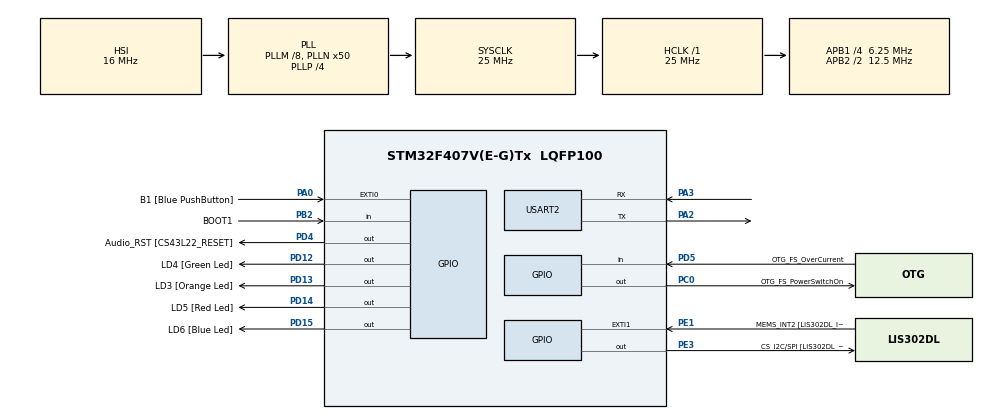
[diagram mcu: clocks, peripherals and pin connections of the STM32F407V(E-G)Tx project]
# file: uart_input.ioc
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Mcu.Family=STM32F4
Mcu.Name=STM32F407V(E-G)Tx
Mcu.Package=LQFP100
NVIC.EXTI0_IRQn=true\:0\:0\:false\:false\:true
NVIC.PriorityGroup=NVIC_PRIORITYGROUP_0
PA0-WKUP.GPIO_Label=B1 [Blue PushButton]
PA0-WKUP.Signal=GPXTI0
PA10.GPIO_Label=OTG_FS_ID
PA10.GPIO_Mode=GPIO_MODE_AF_PP
PA10.GPIO_PuPd=GPIO_NOPULL
PA10.GPIO_Speed=GPIO_SPEED_FREQ_LOW
PA10.Signal=USB_OTG_FS_ID
PA11.GPIO_Label=OTG_FS_DM
PA11.GPIO_Mode=GPIO_MODE_AF_PP
PA11.GPIO_PuPd=GPIO_NOPULL
PA11.GPIO_Speed=GPIO_SPEED_FREQ_LOW
PA11.Signal=USB_OTG_FS_DM
PA12.GPIO_Label=OTG_FS_DP
PA12.GPIO_Mode=GPIO_MODE_AF_PP
PA12.GPIO_PuPd=GPIO_NOPULL
PA12.GPIO_Speed=GPIO_SPEED_FREQ_LOW
PA12.Signal=USB_OTG_FS_DP
PA13.GPIO_Label=SWDIO
PA13.Signal=SYS_JTMS-SWDIO
PA14.GPIO_Label=SWCLK
PA14.Signal=SYS_JTCK-SWCLK
PA2.Mode=Asynchronous
PA2.Signal=USART2_TX
PA3.Mode=Asynchronous
PA3.Signal=USART2_RX
PA4.GPIO_Label=I2S3_WS [CS43L22_LRCK]
PA4.GPIO_Mode=GPIO_MODE_AF_PP
PA4.GPIO_PuPd=GPIO_NOPULL
PA4.GPIO_Speed=GPIO_SPEED_FREQ_LOW
PA4.Signal=I2S3_WS
PA5.GPIO_Label=SPI1_SCK [LIS302DL_SCL/SPC]
PA5.GPIO_Mode=GPIO_MODE_AF_PP
PA5.GPIO_PuPd=GPIO_NOPULL
PA5.GPIO_Speed=GPIO_SPEED_FREQ_LOW
PA5.Signal=SPI1_SCK
PA6.GPIO_Label=SPI1_MISO [LIS302DL_SDO]
PA6.GPIO_Mode=GPIO_MODE_AF_PP
PA6.GPIO_PuPd=GPIO_NOPULL
PA6.GPIO_Speed=GPIO_SPEED_FREQ_LOW
PA6.Signal=SPI1_MISO
PA7.GPIO_Label=SPI1_MOSI [LIS302DL_SDA/SDI/SDO]
PA7.GPIO_Mode=GPIO_MODE_AF_PP
PA7.GPIO_PuPd=GPIO_NOPULL
PA7.GPIO_Speed=GPIO_SPEED_FREQ_LOW
PA7.Signal=SPI1_MOSI
PA9.GPIO_Label=VBUS_FS
PA9.GPIO_Mode=GPIO_MODE_INPUT
PA9.GPIO_PuPd=GPIO_NOPULL
PA9.Signal=USB_OTG_FS_VBUS
PB10.GPIO_Label=CLK_IN [MP45DT02_CLK]
PB10.GPIO_Mode=GPIO_MODE_AF_PP
PB10.GPIO_PuPd=GPIO_NOPULL
PB10.GPIO_Speed=GPIO_SPEED_FREQ_LOW
PB10.Signal=I2S2_CK
PB2.GPIO_Label=BOOT1
PB2.GPIO_Mode=GPIO_MODE_INPUT
PB2.GPIO_PuPd=GPIO_NOPULL
PB2.Signal=GPIO_Input
PB3.GPIO_Label=SWO
PB3.Signal=SYS_JTDO-SWO
PB6.GPIO_Label=Audio_SCL [CS43L22_SCL]
PB6.GPIO_Mode=GPIO_MODE_AF_OD
PB6.GPIO_PuPd=GPIO_NOPULL
PB6.GPIO_Speed=GPIO_SPEED_FREQ_LOW
PB6.Signal=I2C1_SCL
PB9.GPIO_Label=Audio_SDA [CS43L22_SDA]
PB9.GPIO_Mode=GPIO_MODE_AF_OD
PB9.GPIO_PuPd=GPIO_NOPULL
PB9.GPIO_Speed=GPIO_SPEED_FREQ_LOW
PB9.Signal=I2C1_SDA
PC0.GPIO_Label=OTG_FS_PowerSwitchOn
PC0.GPIO_PuPd=GPIO_NOPULL
PC0.GPIO_Speed=GPIO_SPEED_FREQ_LOW
PC0.PinState=GPIO_PIN_SET
PC0.Signal=GPIO_Output
PC10.GPIO_Label=I2S3_SCK [CS43L22_SCLK]
PC10.GPIO_Mode=GPIO_MODE_AF_PP
PC10.GPIO_PuPd=GPIO_NOPULL
PC10.GPIO_Speed=GPIO_SPEED_FREQ_LOW
PC10.Signal=I2S3_CK
PC12.GPIO_Label=I2S3_SD [CS43L22_SDIN]
PC12.GPIO_Mode=GPIO_MODE_AF_PP
PC12.GPIO_PuPd=GPIO_NOPULL
PC12.GPIO_Speed=GPIO_SPEED_FREQ_LOW
PC12.Signal=I2S3_SD
PC14-OSC32_IN.GPIO_Label=PC14-OSC32_IN
PC14-OSC32_IN.Signal=RCC_OSC32_IN
PC15-OSC32_OUT.GPIO_Label=PC15-OSC32_OUT
PC15-OSC32_OUT.Signal=RCC_OSC32_OUT
PC3.GPIO_Label=PDM_OUT [MP45DT02_DOUT]
PC3.GPIO_Mode=GPIO_MODE_AF_PP
PC3.GPIO_PuPd=GPIO_NOPULL
PC3.GPIO_Speed=GPIO_SPEED_FREQ_LOW
PC3.Signal=I2S2_SD
PC7.GPIO_Label=I2S3_MCK [CS43L22_MCLK]
PC7.GPIO_Mode=GPIO_MODE_AF_PP
PC7.GPIO_PuPd=GPIO_NOPULL
PC7.GPIO_Speed=GPIO_SPEED_FREQ_LOW
PC7.Signal=I2S3_MCK
PD12.GPIO_Label=LD4 [Green Led]
PD12.GPIO_PuPd=GPIO_NOPULL
PD12.GPIO_Speed=GPIO_SPEED_FREQ_LOW
PD12.Signal=GPIO_Output
PD13.GPIO_Label=LD3 [Orange Led]
PD13.GPIO_PuPd=GPIO_NOPULL
PD13.GPIO_Speed=GPIO_SPEED_FREQ_LOW
PD13.Signal=GPIO_Output
PD14.GPIO_Label=LD5 [Red Led]
PD14.GPIO_PuPd=GPIO_NOPULL
PD14.GPIO_Speed=GPIO_SPEED_FREQ_LOW
PD14.Signal=GPIO_Output
PD15.GPIO_Label=LD6 [Blue Led]
PD15.GPIO_PuPd=GPIO_NOPULL
PD15.GPIO_Speed=GPIO_SPEED_FREQ_LOW
PD15.Signal=GPIO_Output
PD4.GPIO_Label=Audio_RST [CS43L22_RESET]
PD4.GPIO_PuPd=GPIO_NOPULL
PD4.GPIO_Speed=GPIO_SPEED_FREQ_LOW
PD4.Signal=GPIO_Output
PD5.GPIO_Label=OTG_FS_OverCurrent
PD5.GPIO_Mode=GPIO_MODE_INPUT
PD5.GPIO_PuPd=GPIO_NOPULL
PD5.Signal=GPIO_Input
PE1.GPIO_Label=MEMS_INT2 [LIS302DL_INT2]
PE1.GPIO_ModeDefaultEXTI=GPIO_MODE_EVT_RISING
PE1.GPIO_PuPd=GPIO_NOPULL
PE1.Signal=GPXTI1
PE3.GPIO_Label=CS_I2C/SPI [LIS302DL_CS_I2C/SPI]
PE3.GPIO_PuPd=GPIO_NOPULL
PE3.GPIO_Speed=GPIO_SPEED_FREQ_LOW
PE3.Signal=GPIO_Output
PH0-OSC_IN.GPIO_Label=PH0-OSC_IN
PH0-OSC_IN.Signal=RCC_OSC_IN
PH1-OSC_OUT.GPIO_Label=PH1-OSC_OUT
PH1-OSC_OUT.Signal=RCC_OSC_OUT
ProjectManager.HeapSize=0x200
ProjectManager.StackSize=0x400
ProjectManager.TargetToolchain=SW4STM32
RCC.48MHZClocksFreq_Value=14285714.285714285
RCC.AHBFreq_Value=25000000
RCC.APB1CLKDivider=RCC_HCLK_DIV4
RCC.APB1Freq_Value=6250000
RCC.APB1TimFreq_Value=12500000
RCC.APB2CLKDivider=RCC_HCLK_DIV2
RCC.APB2Freq_Value=12500000
RCC.APB2TimFreq_Value=25000000
RCC.CortexFreq_Value=25000000
RCC.HCLKFreq_Value=25000000
RCC.HSE_VALUE=8000000
RCC.HSI_VALUE=16000000
RCC.LSE_VALUE=32768
RCC.PLLM=8
RCC.PLLN=50
RCC.PLLP=RCC_PLLP_DIV4
RCC.PLLQ=7
RCC.SYSCLKFreq_VALUE=25000000
RCC.SYSCLKSource=RCC_SYSCLKSOURCE_PLLCLK
RCC.VCOOutputFreq_Value=100000000
board=STM32F407G-DISC1

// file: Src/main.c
/**
  ******************************************************************************
  * File Name          : main.c
  * Description        : Main program body
  ******************************************************************************
  *
  * COPYRIGHT(c) 2017 STMicroelectronics
  *
  * Redistribution and use in source and binary forms, with or without modification,
  * are permitted provided that the following conditions are met:
  *   1. Redistributions of source code must retain the above copyright notice,
  *      this list of conditions and the following disclaimer.
  *   2. Redistributions in binary form must reproduce the above copyright notice,
  *      this list of conditions and the following disclaimer in the documentation
  *      and/or other materials provided with the distribution.
  *   3. Neither the name of STMicroelectronics nor the names of its contributors
  *      may be used to endorse or promote products derived from this software
  *      without specific prior written permission.
  *
  * THIS SOFTWARE IS PROVIDED BY THE COPYRIGHT HOLDERS AND CONTRIBUTORS "AS IS"
  * AND ANY EXPRESS OR IMPLIED WARRANTIES, INCLUDING, BUT NOT LIMITED TO, THE
  * IMPLIED WARRANTIES OF MERCHANTABILITY AND FITNESS FOR A PARTICULAR PURPOSE ARE
  * DISCLAIMED. IN NO EVENT SHALL THE COPYRIGHT HOLDER OR CONTRIBUTORS BE LIABLE
  * FOR ANY DIRECT, INDIRECT, INCIDENTAL, SPECIAL, EXEMPLARY, OR CONSEQUENTIAL
  * DAMAGES (INCLUDING, BUT NOT LIMITED TO, PROCUREMENT OF SUBSTITUTE GOODS OR
  * SERVICES; LOSS OF USE, DATA, OR PROFITS; OR BUSINESS INTERRUPTION) HOWEVER
  * CAUSED AND ON ANY THEORY OF LIABILITY, WHETHER IN CONTRACT, STRICT LIABILITY,
  * OR TORT (INCLUDING NEGLIGENCE OR OTHERWISE) ARISING IN ANY WAY OUT OF THE USE
  * OF THIS SOFTWARE, EVEN IF ADVISED OF THE POSSIBILITY OF SUCH DAMAGE.
  *
  ******************************************************************************
  */
#include "main.h"
#include "stm32f4xx_hal.h"
#include "usart.h"
#include "gpio.h"

/* USER CODE BEGIN PV */
/* Private variables ---------------------------------------------------------*/

/* USER CODE END PV */

void SystemClock_Config(void);
void Error_Handler(void);

/* USER CODE BEGIN PFP */
/* Private function prototypes -----------------------------------------------*/

/* USER CODE END PFP */

/* USER CODE BEGIN 0 */
int _read(int file, char *result, size_t len)
{
	HAL_StatusTypeDef status;
	int retcode = 0;

	if (len != 0)
	{
		status = HAL_UART_Receive(&huart2, (uint8_t *) result, len, HAL_MAX_DELAY);

		if (status == HAL_OK)
			{
				retcode = len;
			} else {
				retcode = -1;
			}
	}
	return(retcode);
}

int _write(int file, char *outgoing, int len)
{
	HAL_UART_Transmit(&huart2, (uint8_t *) outgoing, len, 100);
	return len;
}

/* USER CODE END 0 */

int main(void)
{

  /* USER CODE BEGIN 1 */
	char ch;
  /* USER CODE END 1 */

  /* MCU Configuration----------------------------------------------------------*/

  /* Reset of all peripherals, Initializes the Flash interface and the Systick. */
  HAL_Init();

  /* Configure the system clock */
  SystemClock_Config();

  /* Initialize all configured peripherals */
  MX_GPIO_Init();
  MX_USART2_UART_Init();

  /* USER CODE BEGIN 2 */
  setvbuf(stdin, NULL, _IONBF, 0);
  /* USER CODE END 2 */

  /* Infinite loop */
  while (1)
  {

  /* USER CODE BEGIN 3 */
	  ch = getchar();
	  printf("%c", ch);
  }
  /* USER CODE END 3 */

}

/** System Clock Configuration
*/
void SystemClock_Config(void)
{

  RCC_OscInitTypeDef RCC_OscInitStruct;
  RCC_ClkInitTypeDef RCC_ClkInitStruct;

    /**Configure the main internal regulator output voltage
    */
  __HAL_RCC_PWR_CLK_ENABLE();

  __HAL_PWR_VOLTAGESCALING_CONFIG(PWR_REGULATOR_VOLTAGE_SCALE1);

    /**Initializes the CPU, AHB and APB busses clocks
    */
  RCC_OscInitStruct.OscillatorType = RCC_OSCILLATORTYPE_HSI;
  RCC_OscInitStruct.HSIState = RCC_HSI_ON;
  RCC_OscInitStruct.HSICalibrationValue = 16;
  RCC_OscInitStruct.PLL.PLLState = RCC_PLL_ON;
  RCC_OscInitStruct.PLL.PLLSource = RCC_PLLSOURCE_HSI;
  RCC_OscInitStruct.PLL.PLLM = 8;
  RCC_OscInitStruct.PLL.PLLN = 50;
  RCC_OscInitStruct.PLL.PLLP = RCC_PLLP_DIV4;
  RCC_OscInitStruct.PLL.PLLQ = 7;
  if (HAL_RCC_OscConfig(&RCC_OscInitStruct) != HAL_OK)
  {
    Error_Handler();
  }

    /**Initializes the CPU, AHB and APB busses clocks
    */
  RCC_ClkInitStruct.ClockType = RCC_CLOCKTYPE_HCLK|RCC_CLOCKTYPE_SYSCLK
                              |RCC_CLOCKTYPE_PCLK1|RCC_CLOCKTYPE_PCLK2;
  RCC_ClkInitStruct.SYSCLKSource = RCC_SYSCLKSOURCE_PLLCLK;
  RCC_ClkInitStruct.AHBCLKDivider = RCC_SYSCLK_DIV1;
  RCC_ClkInitStruct.APB1CLKDivider = RCC_HCLK_DIV4;
  RCC_ClkInitStruct.APB2CLKDivider = RCC_HCLK_DIV2;

  if (HAL_RCC_ClockConfig(&RCC_ClkInitStruct, FLASH_LATENCY_0) != HAL_OK)
  {
    Error_Handler();
  }

    /**Configure the Systick interrupt time
    */
  HAL_SYSTICK_Config(HAL_RCC_GetHCLKFreq()/1000);

    /**Configure the Systick
    */
  HAL_SYSTICK_CLKSourceConfig(SYSTICK_CLKSOURCE_HCLK);

  /* SysTick_IRQn interrupt configuration */
  HAL_NVIC_SetPriority(SysTick_IRQn, 0, 0);
}

void Error_Handler(void)
{
  while(1)
  {
  }
}

/************************ (C) COPYRIGHT STMicroelectronics *****END OF FILE****/
